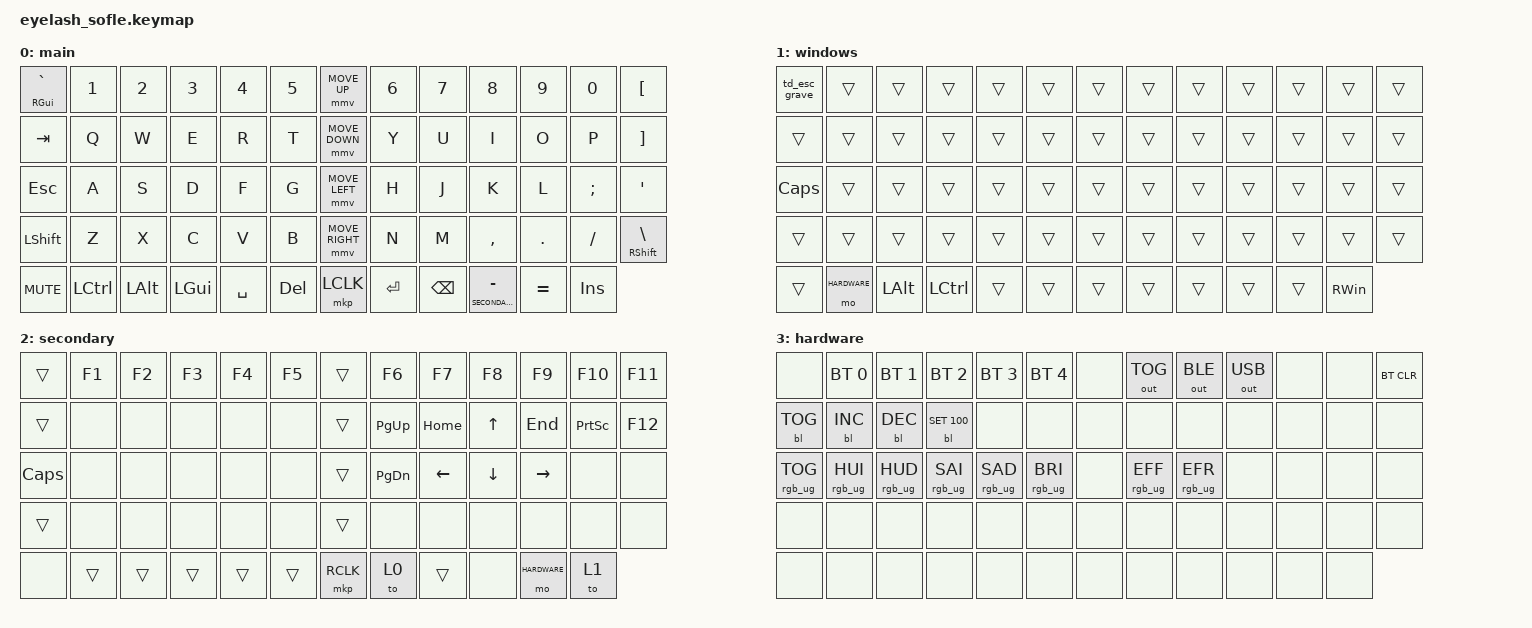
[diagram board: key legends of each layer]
#define ZMK_POINTING_DEFAULT_MOVE_VAL 1200  // 600
#define ZMK_POINTING_DEFAULT_SCRL_VAL 25   // 10

#include <input/processors.dtsi>
#include <zephyr/dt-bindings/input/input-event-codes.h>
#include <behaviors.dtsi>
#include <dt-bindings/zmk/backlight.h>
#include <dt-bindings/zmk/bt.h>
#include <dt-bindings/zmk/keys.h>
#include <dt-bindings/zmk/outputs.h>
#include <dt-bindings/zmk/pointing.h>
#include <dt-bindings/zmk/rgb.h>

#define MAIN 0
#define WINDOWS 1
#define SECONDARY 2
#define HARDWARE 3

&mmv_input_listener { input-processors = <&zip_xy_scaler 2 1>; };

&msc_input_listener { input-processors = <&zip_scroll_scaler 2 1>; };

&mmv {
    time-to-max-speed-ms = <500>;
    acceleration-exponent = <1>;
    trigger-period-ms = <16>;
};

/ {
    combos { compatible = "zmk,combos"; };

    behaviors {
        td_esc_grave: td_esc_grave {
            compatible = "zmk,behavior-tap-dance";
            #binding-cells = <0>;
            tapping-term-ms = <200>;
            bindings = <&kp ESC>, <&kp GRAVE>;
        };
    };

    keymap {
        compatible = "zmk,keymap";

        main_layer {
            label = "main";
            bindings = <
&mt RIGHT_GUI GRAVE  &kp N1            &kp N2        &kp N3        &kp N4     &kp N5     &mmv MOVE_UP     &kp N6     &kp N7         &kp N8               &kp N9     &kp N0    &kp LEFT_BRACKET
&kp TAB              &kp Q             &kp W         &kp E         &kp R      &kp T      &mmv MOVE_DOWN   &kp Y      &kp U          &kp I                &kp O      &kp P     &kp RIGHT_BRACKET
&kp ESCAPE           &kp A             &kp S         &kp D         &kp F      &kp G      &mmv MOVE_LEFT   &kp H      &kp J          &kp K                &kp L      &kp SEMI  &kp SQT
&kp LSHFT            &kp Z             &kp X         &kp C         &kp V      &kp B      &mmv MOVE_RIGHT  &kp N      &kp M          &kp COMMA            &kp DOT    &kp FSLH  &mt RSHIFT BACKSLASH
&kp C_MUTE           &kp LEFT_CONTROL  &kp LEFT_ALT  &kp LEFT_GUI  &kp SPACE  &kp DEL    &mkp LCLK        &kp ENTER  &kp BACKSPACE  &lt SECONDARY MINUS  &kp EQUAL  &kp INS
            >;
        };

        windows_layer {
            label = "windows";
            bindings = <
&td_esc_grave  &trans        &trans        &trans            &trans  &trans    &trans  &trans  &trans  &trans  &trans  &trans         &trans
&trans         &trans        &trans        &trans            &trans  &trans    &trans  &trans  &trans  &trans  &trans  &trans         &trans
&kp CAPS       &trans        &trans        &trans            &trans  &trans    &trans  &trans  &trans  &trans  &trans  &trans         &trans
&trans         &trans        &trans        &trans            &trans  &trans    &trans  &trans  &trans  &trans  &trans  &trans         &trans
&trans         &mo HARDWARE  &kp LEFT_ALT  &kp LEFT_CONTROL  &trans  &trans    &trans  &trans  &trans  &trans  &trans  &kp RIGHT_WIN
            >;
        };

        secondary_layer {
            label = "secondary";
            bindings = <
&trans    &kp F1  &kp F2  &kp F3  &kp F4  &kp F5    &trans     &kp F6     &kp F7    &kp F8    &kp F9        &kp F10          &kp F11
&trans    &none   &none   &none   &none   &none     &trans     &kp PG_UP  &kp HOME  &kp UP    &kp END       &kp PRINTSCREEN  &kp F12
&kp CLCK  &none   &none   &none   &none   &none     &trans     &kp PG_DN  &kp LEFT  &kp DOWN  &kp RIGHT     &none            &none
&trans    &none   &none   &none   &none   &none     &trans     &none      &none     &none     &none         &none            &none
&none     &trans  &trans  &trans  &trans  &trans    &mkp RCLK  &to 0      &trans    &none     &mo HARDWARE  &to 1
            >;
        };

        hardware_layer {
            label = "hardware";
            bindings = <
&none            &bt BT_SEL 0     &bt BT_SEL 1     &bt BT_SEL 2     &bt BT_SEL 3     &bt BT_SEL 4       &none  &out OUT_TOG     &out OUT_BLE     &out OUT_USB  &none  &none  &bt BT_CLR
&bl BL_TOG       &bl BL_INC       &bl BL_DEC       &bl BL_SET 100   &none            &none              &none  &none            &none            &none         &none  &none  &none
&rgb_ug RGB_TOG  &rgb_ug RGB_HUI  &rgb_ug RGB_HUD  &rgb_ug RGB_SAI  &rgb_ug RGB_SAD  &rgb_ug RGB_BRI    &none  &rgb_ug RGB_EFF  &rgb_ug RGB_EFR  &none         &none  &none  &none
&none            &none            &none            &none            &none            &none              &none  &none            &none            &none         &none  &none  &none
&none            &none            &none            &none            &none            &none              &none  &none            &none            &none         &none  &none
            >;
        };
    };

    conditional_layers { compatible = "zmk,conditional-layers"; };
};
